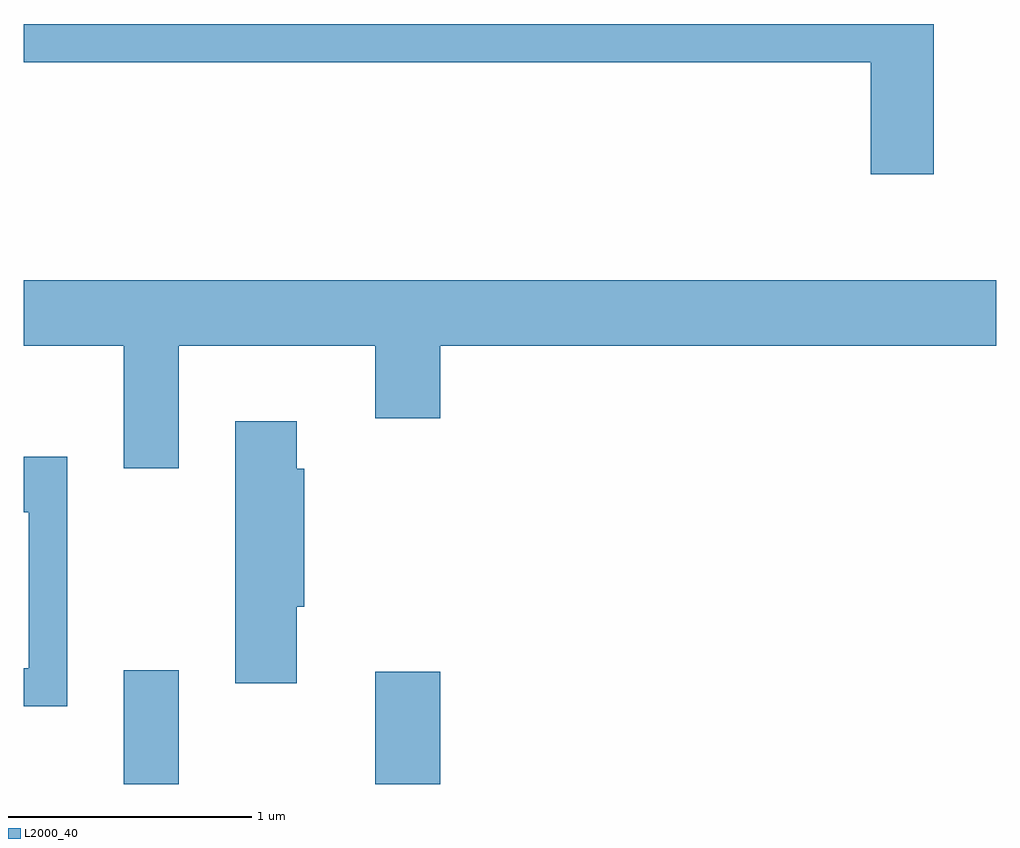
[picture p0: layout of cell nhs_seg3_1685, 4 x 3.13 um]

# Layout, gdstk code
import gdstk
lib = gdstk.Library(unit=1e-6, precision=1e-09)
def R(c, l, rs):  # rectangles x0, y0, x1, y1
    for r in rs: c.add(gdstk.rectangle(r[:2], r[2:], *l))
def P(c, l, *ps):  # polygons
    for p in ps: c.add(gdstk.Polygon(p, *l))
L2000_40 = (2000, 40)

nhs_seg3_1685 = lib.new_cell('nhs_seg3_1685')
R(nhs_seg3_1685, L2000_40, [(234.021,1221.892,234.249,1222.359), (235.056,1221.892,235.324,1222.354)])
P(nhs_seg3_1685, L2000_40, [(237.354,1225.019),(233.611,1225.019),(233.611,1224.861),(237.096,1224.861),(237.096,1224.401),(237.354,1224.401)],
  [(234.249,1223.696),(235.056,1223.696),(235.056,1223.396),(235.324,1223.396),(235.324,1223.696),(237.611,1223.696),(237.611,1223.964),(233.611,1223.964),(233.611,1223.696),(234.021,1223.696),(234.021,1223.191),(234.249,1223.191)],
  [(234.734,1222.621),(234.764,1222.621),(234.764,1223.189),(234.734,1223.189),(234.734,1223.384),(234.481,1223.384),(234.481,1222.306),(234.734,1222.306)],
  [(233.789,1223.239),(233.611,1223.239),(233.611,1223.011),(233.631,1223.011),(233.631,1222.369),(233.611,1222.369),(233.611,1222.211),(233.789,1222.211)])

lib.write_gds('nhs_seg3_1685.gds')
